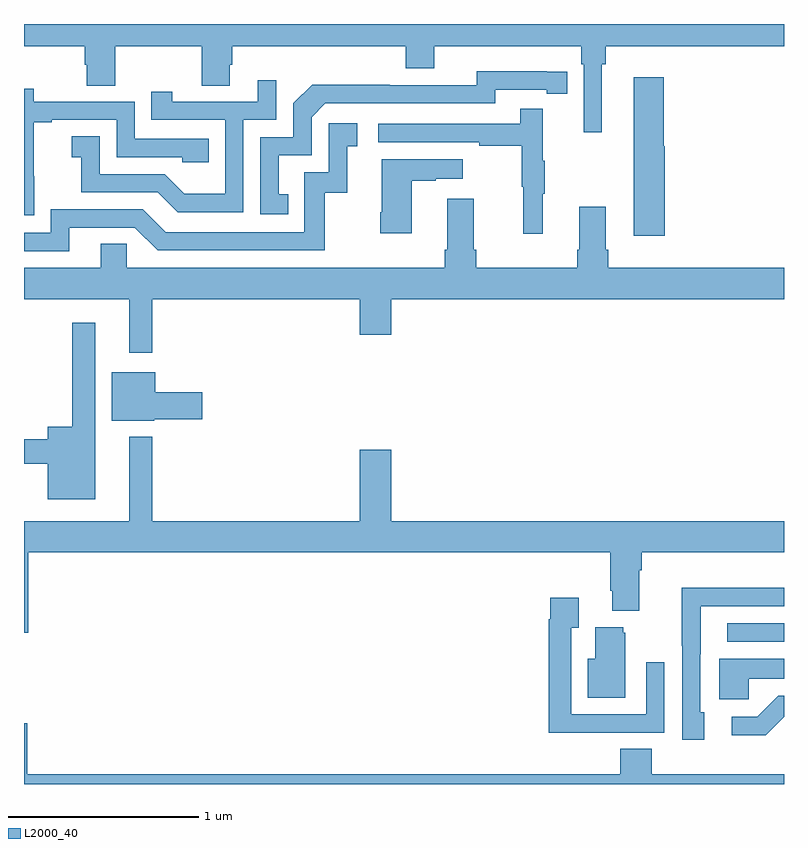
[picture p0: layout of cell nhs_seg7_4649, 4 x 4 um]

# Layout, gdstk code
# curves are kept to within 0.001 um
import gdstk
lib = gdstk.Library(unit=1e-6, precision=1e-09)
def R(c, l, rs):  # rectangles x0, y0, x1, y1
    for r in rs: c.add(gdstk.rectangle(r[:2], r[2:], *l))
def P(c, l, *ps):  # polygons
    for p in ps: c.add(gdstk.Polygon(p, *l))
L2000_40 = (2000, 40)

nhs_seg7_4649 = lib.new_cell('nhs_seg7_4649')
R(nhs_seg7_4649, L2000_40, [(406.701,1062.75,407,1062.846)])
P(nhs_seg7_4649, L2000_40, [(406.042,1065.788),(406.061,1065.788),(406.061,1065.884),(407,1065.884),(407,1066),(403,1066),(403,1065.884),(403.319,1065.884),(403.319,1065.786),(403.331,1065.786),(403.331,1065.676),(403.479,1065.676),(403.479,1065.884),(403.936,1065.884),(403.936,1065.676),(404.083,1065.676),(404.083,1065.786),(404.096,1065.786),(404.096,1065.884),(405.008,1065.884),(405.008,1065.767),(405.16,1065.767),(405.16,1065.884),(405.932,1065.884),(405.932,1065.788),(405.945,1065.788),(405.945,1065.429),(406.042,1065.429)],
  [(404.39,1065.105),(404.341,1065.105),(404.341,1065.309),(404.514,1065.309),(404.514,1065.51),(404.586,1065.582),(405.48,1065.582),(405.48,1065.654),(405.752,1065.654),(405.752,1065.634),(405.86,1065.634),(405.86,1065.75),(405.384,1065.751),(405.384,1065.678),(404.924,1065.678),(404.924,1065.68),(404.516,1065.68),(404.418,1065.582),(404.418,1065.405),(404.244,1065.405),(404.244,1065),(404.39,1065)],
  [(406.372,1065.357),(406.367,1065.357),(406.367,1065.721),(406.208,1065.721),(406.208,1064.886),(406.372,1064.886)],
  [(404.154,1065.495),(404.328,1065.495),(404.328,1065.703),(404.231,1065.703),(404.231,1065.591),(403.78,1065.591),(403.78,1065.643),(403.669,1065.643),(403.669,1065.495),(404.058,1065.495),(404.058,1065.106),(403.844,1065.106),(403.74,1065.21),(403.398,1065.21),(403.398,1065.409),(403.251,1065.409),(403.251,1065.299),(403.3,1065.299),(403.3,1065.114),(403.703,1065.114),(403.808,1065.009),(404.154,1065.009)],
  [(403.053,1065.199),(403.052,1065.199),(403.052,1065.483),(403.147,1065.483),(403.147,1065.495),(403.488,1065.495),(403.488,1065.3),(403.833,1065.3),(403.833,1065.273),(403.973,1065.273),(403.973,1065.396),(403.584,1065.396),(403.584,1065.591),(403.05,1065.591),(403.05,1065.66),(403,1065.66),(403,1064.993),(403.053,1064.993)],
  [(405.731,1065.107),(405.742,1065.107),(405.742,1065.281),(405.731,1065.281),(405.731,1065.553),(405.613,1065.553),(405.613,1065.474),(404.865,1065.474),(404.865,1065.378),(405.397,1065.378),(405.397,1065.358),(405.621,1065.358),(405.621,1065.144),(405.628,1065.144),(405.628,1064.895),(405.731,1064.895)],
  [(403.237,1064.928),(403.584,1064.928),(403.704,1064.808),(404.584,1064.808),(404.584,1065.111),(404.702,1065.111),(404.702,1065.357),(404.755,1065.357),(404.755,1065.478),(404.604,1065.478),(404.604,1065.219),(404.475,1065.219),(404.475,1064.904),(403.746,1064.904),(403.626,1065.024),(403.14,1065.024),(403.14,1064.901),(403,1064.901),(403,1064.805),(403.237,1064.805)],
  [(405.04,1065.175),(405.167,1065.175),(405.167,1065.185),(405.31,1065.185),(405.31,1065.289),(404.882,1065.289),(404.882,1065.01),(404.875,1065.01),(404.875,1064.898),(405.04,1064.898)],
  [(403.675,1064.552),(404.768,1064.552),(404.768,1064.364),(404.932,1064.364),(404.932,1064.552),(407,1064.552),(407,1064.716),(406.076,1064.716),(406.076,1064.812),(406.063,1064.812),(406.063,1065.037),(405.923,1065.037),(405.923,1064.812),(405.911,1064.812),(405.911,1064.716),(405.38,1064.716),(405.38,1064.812),(405.367,1064.812),(405.367,1065.079),(405.227,1065.079),(405.227,1064.812),(405.215,1064.812),(405.215,1064.716),(403.542,1064.716),(403.542,1064.843),(403.403,1064.843),(403.403,1064.716),(403,1064.716),(403,1064.552),(403.553,1064.552),(403.553,1064.271),(403.675,1064.271)],
  [(403.375,1064.428),(403.254,1064.428),(403.254,1063.879),(403.124,1063.879),(403.124,1063.814),(403,1063.814),(403,1063.686),(403.124,1063.686),(403.124,1063.499),(403.375,1063.499)],
  [(403.686,1063.919),(403.939,1063.919),(403.939,1064.061),(403.69,1064.061),(403.69,1064.167),(403.463,1064.167),(403.463,1063.913),(403.686,1063.913)],
  [(403.022,1063.22),(406.085,1063.22),(406.085,1063.018),(406.097,1063.018),(406.097,1062.911),(406.237,1062.911),(406.237,1063.124),(406.25,1063.124),(406.25,1063.22),(407,1063.22),(407,1063.384),(404.932,1063.384),(404.932,1063.759),(404.768,1063.759),(404.768,1063.384),(403.675,1063.384),(403.675,1063.828),(403.553,1063.828),(403.553,1063.384),(403,1063.384),(403,1062.795),(403.022,1062.795)],
  [(406.579,1062.378),(406.56,1062.378),(406.56,1062.682),(406.561,1062.682),(406.561,1062.936),(407,1062.936),(407,1063.032),(406.925,1063.032),(406.925,1063.034),(406.462,1063.034),(406.462,1062.727),(406.464,1062.727),(406.464,1062.234),(406.579,1062.234)],
  [(406.055,1062.27),(406.371,1062.27),(406.371,1062.64),(406.275,1062.64),(406.275,1062.366),(405.879,1062.366),(405.879,1062.823),(405.919,1062.823),(405.919,1062.979),(405.771,1062.979),(405.771,1062.866),(405.763,1062.866),(405.763,1062.269),(406.055,1062.269)],
  [(406.165,1062.795),(406.154,1062.795),(406.154,1062.826),(406.007,1062.826),(406.007,1062.658),(405.968,1062.658),(405.968,1062.455),(406.165,1062.455)],
  [(406.815,1062.554),(407,1062.554),(407,1062.658),(406.658,1062.658),(406.658,1062.446),(406.815,1062.446)],
  [(407,1062.353),(407,1062.465),(406.97,1062.465),(406.859,1062.354),(406.725,1062.354),(406.725,1062.257),(406.903,1062.257)],
  [(407,1062.052),(406.304,1062.052),(406.304,1062.185),(406.139,1062.185),(406.139,1062.052),(403.016,1062.052),(403.016,1062.319),(403,1062.319),(403,1062),(407,1062)])

lib.write_gds('nhs_seg7_4649.gds')
